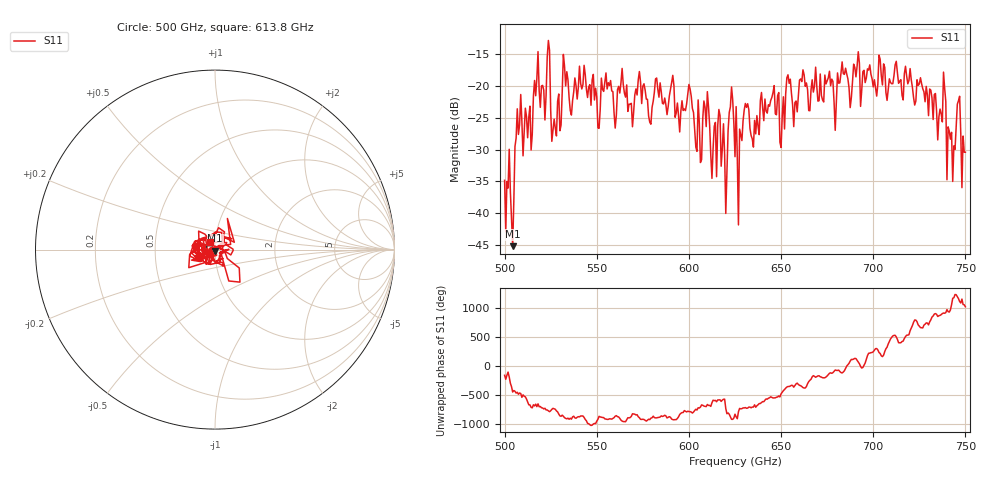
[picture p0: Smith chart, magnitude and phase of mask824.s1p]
!Created with skrf (http://scikit-rf.org).
# GHz S MA R 50.0
!freq magS11 angS11
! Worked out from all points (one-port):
!   401 points, 500 GHz to 750 GHz, reference 50 ohm
!   lowest |S11| = -45.2 dB at 504.4 GHz (marker M1), VSWR 1.01, Z = 50 - j0.549 ohm
!   |S11| at or under -10 dB: start of sweep to end of sweep
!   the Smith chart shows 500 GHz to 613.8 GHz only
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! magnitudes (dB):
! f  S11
! 500 GHz  -34.8
! 504.4 GHz  -45.2
! 507.5 GHz  -27.6
! 513.8 GHz  -23.2
! 516.9 GHz  -21.5
! 523.8 GHz  -12.8
! 526.9 GHz  -25.2
! 531.2 GHz  -21.0
! 562.5 GHz  -21.1
! 579.4 GHz  -26.0
! 590.6 GHz  -19.5
! 593.8 GHz  -22.7
! 600.6 GHz  -20.4
! 605.6 GHz  -25.8
! 609.4 GHz  -26.4
! 619.4 GHz  -30.8
! 622.5 GHz  -23.3
! 625 GHz  -31.1
! 627.5 GHz  -26.8
! 631.2 GHz  -23.4
! 635 GHz  -29.6
! 656.2 GHz  -22.9
! 687.5 GHz  -23.4
! 718.8 GHz  -19.7
! 738.1 GHz  -17.8
! 743.1 GHz  -35.0
! 746.2 GHz  -22.3
! 750 GHz  -30.4
